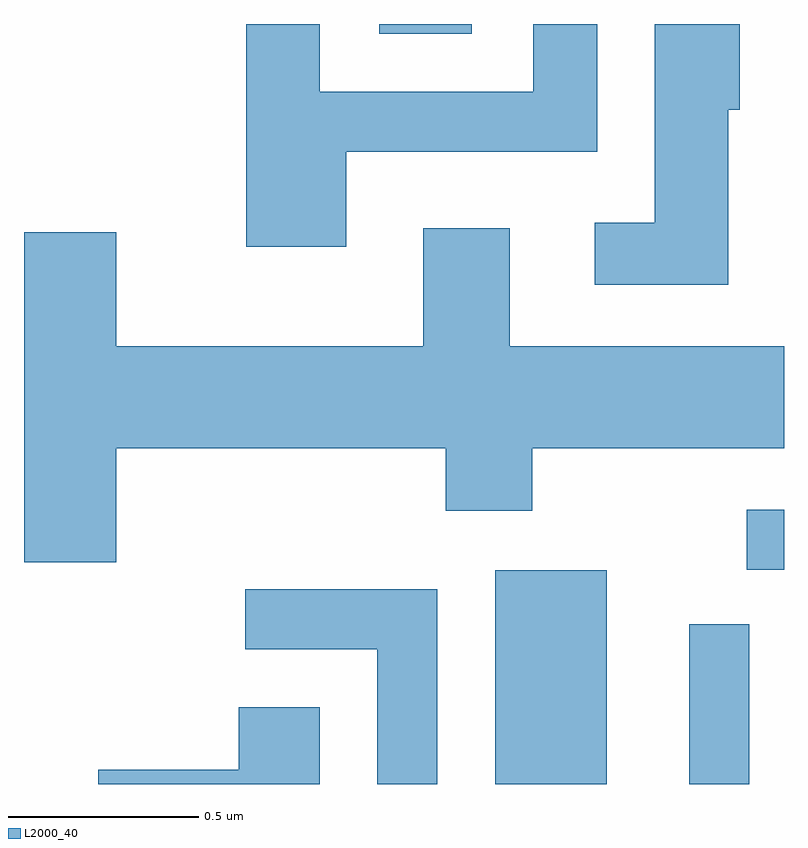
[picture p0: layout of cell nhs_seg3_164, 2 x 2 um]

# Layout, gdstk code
import gdstk
lib = gdstk.Library(unit=1e-6, precision=1e-09)
def R(c, l, rs):  # rectangles x0, y0, x1, y1
    for r in rs: c.add(gdstk.rectangle(r[:2], r[2:], *l))
def P(c, l, *ps):  # polygons
    for p in ps: c.add(gdstk.Polygon(p, *l))
L2000_40 = (2000, 40)

nhs_seg3_164 = lib.new_cell('nhs_seg3_164')
R(nhs_seg3_164, L2000_40, [(187.851,1142.892,188.144,1143.454), (188.361,1142.892,188.519,1143.313), (188.513,1143.456,188.611,1143.614), (187.546,1144.866,187.789,1144.892)])
P(nhs_seg3_164, L2000_40, [(188.464,1144.666),(188.494,1144.666),(188.494,1144.892),(188.271,1144.892),(188.271,1144.369),(188.113,1144.369),(188.113,1144.206),(188.464,1144.206)],
  [(187.459,1144.556),(188.119,1144.556),(188.119,1144.892),(187.951,1144.892),(187.951,1144.714),(187.389,1144.714),(187.389,1144.892),(187.196,1144.892),(187.196,1144.306),(187.459,1144.306)],
  [(186.854,1143.776),(187.721,1143.776),(187.721,1143.611),(187.949,1143.611),(187.949,1143.776),(188.611,1143.776),(188.611,1144.044),(187.889,1144.044),(187.889,1144.354),(187.661,1144.354),(187.661,1144.044),(186.854,1144.044),(186.854,1144.344),(186.611,1144.344),(186.611,1143.476),(186.854,1143.476)],
  [(187.699,1143.404),(187.193,1143.404),(187.193,1143.246),(187.541,1143.246),(187.541,1142.892),(187.699,1142.892)],
  [(187.389,1143.094),(187.176,1143.094),(187.176,1142.929),(186.806,1142.929),(186.806,1142.892),(187.389,1142.892)])

lib.write_gds('nhs_seg3_164.gds')
